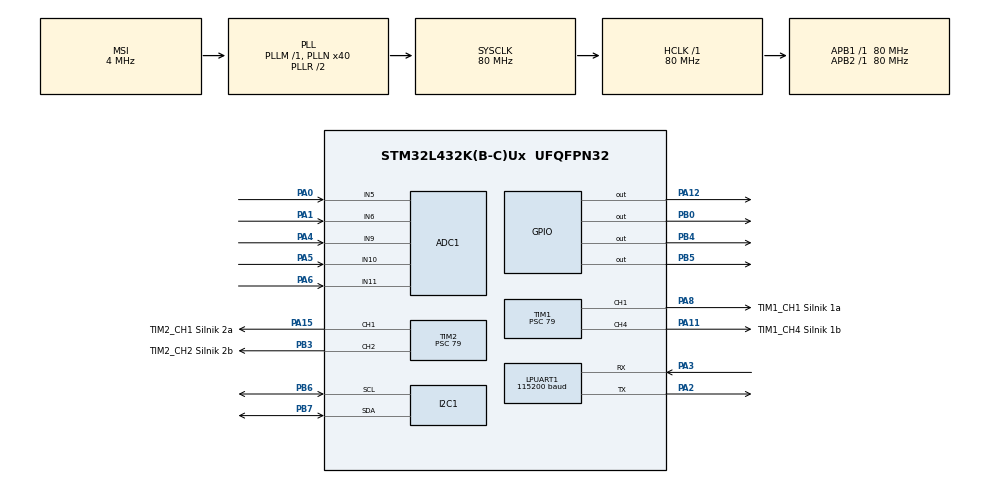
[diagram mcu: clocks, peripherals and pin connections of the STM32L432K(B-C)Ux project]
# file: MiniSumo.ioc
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ADC1.Channel-0\#ChannelRegularConversion=ADC_CHANNEL_5
ADC1.NbrOfConversionFlag=1
ADC1.OffsetNumber-0\#ChannelRegularConversion=ADC_OFFSET_NONE
ADC1.Rank-0\#ChannelRegularConversion=1
ADC1.SamplingTime-0\#ChannelRegularConversion=ADC_SAMPLETIME_2CYCLES_5
ADC1.master=1
I2C1.Timing=0x10D19CE4
LPUART1.BaudRate=115200
LPUART1.WordLength=UART_WORDLENGTH_8B
Mcu.Family=STM32L4
Mcu.Name=STM32L432K(B-C)Ux
Mcu.Package=UFQFPN32
NVIC.PriorityGroup=NVIC_PRIORITYGROUP_4
PA0.Signal=ADCx_IN5
PA1.Signal=ADCx_IN6
PA11.GPIO_Label=TIM1_CH4 Silnik 1b
PA11.Signal=S_TIM1_CH4
PA12.Signal=GPIO_Output
PA15\ (JTDI).GPIO_Label=TIM2_CH1 Silnik 2a
PA15\ (JTDI).Signal=S_TIM2_CH1
PA2.Mode=Asynchronous
PA2.Signal=LPUART1_TX
PA3.Mode=Asynchronous
PA3.Signal=LPUART1_RX
PA4.Signal=ADCx_IN9
PA5.Signal=ADCx_IN10
PA6.Signal=ADCx_IN11
PA8.GPIO_Label=TIM1_CH1 Silnik 1a
PA8.Signal=S_TIM1_CH1
PB0.Signal=GPIO_Output
PB3\ (JTDO-TRACESWO).GPIO_Label=TIM2_CH2 Silnik 2b
PB3\ (JTDO-TRACESWO).Signal=S_TIM2_CH2
PB4\ (NJTRST).Signal=GPIO_Output
PB5.Signal=GPIO_Output
PB6.Mode=I2C
PB6.Signal=I2C1_SCL
PB7.Mode=I2C
PB7.Signal=I2C1_SDA
ProjectManager.HeapSize=0x200
ProjectManager.StackSize=0x400
ProjectManager.TargetToolchain=STM32CubeIDE
RCC.ADCFreq_Value=32000000
RCC.AHBFreq_Value=80000000
RCC.APB1Freq_Value=80000000
RCC.APB1TimFreq_Value=80000000
RCC.APB2Freq_Value=80000000
RCC.APB2TimFreq_Value=80000000
RCC.CortexFreq_Value=80000000
RCC.HCLKFreq_Value=80000000
RCC.HSE_VALUE=8000000
RCC.HSI48_VALUE=48000000
RCC.HSI_VALUE=16000000
RCC.LSE_VALUE=32768
RCC.MSI_VALUE=4000000
RCC.PLLN=40
RCC.PLLSAI1N=16
RCC.SYSCLKFreq_VALUE=80000000
RCC.SYSCLKSource=RCC_SYSCLKSOURCE_PLLCLK
RCC.USBFreq_Value=32000000
RCC.VCOOutputFreq_Value=160000000
SH.ADCx_IN10.0=ADC1_IN10,IN10-Single-Ended
SH.ADCx_IN11.0=ADC1_IN11,IN11-Single-Ended
SH.ADCx_IN5.0=ADC1_IN5,IN5-Single-Ended
SH.ADCx_IN6.0=ADC1_IN6,IN6-Single-Ended
SH.ADCx_IN9.0=ADC1_IN9,IN9-Single-Ended
SH.S_TIM1_CH1.0=TIM1_CH1,PWM Generation1 CH1
SH.S_TIM1_CH4.0=TIM1_CH4,PWM Generation4 CH4
SH.S_TIM2_CH1.0=TIM2_CH1,PWM Generation1 CH1
SH.S_TIM2_CH2.0=TIM2_CH2,PWM Generation2 CH2
TIM1.Channel-PWM\ Generation1\ CH1=TIM_CHANNEL_1
TIM1.Channel-PWM\ Generation4\ CH4=TIM_CHANNEL_4
TIM1.Period=99
TIM1.Prescaler=79
TIM2.Channel-PWM\ Generation1\ CH1=TIM_CHANNEL_1
TIM2.Channel-PWM\ Generation2\ CH2=TIM_CHANNEL_2
TIM2.Period=99
TIM2.Prescaler=79
VP_TIM1_VS_ClockSourceINT.Mode=Internal
board=custom

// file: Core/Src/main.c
/* USER CODE BEGIN Header */
/**
  ******************************************************************************
  * @file           : main.c
  * @brief          : Main program body
  ******************************************************************************
  * @attention
  *
  * Copyright (c) 2026 STMicroelectronics.
  * All rights reserved.
  *
  * This software is licensed under terms that can be found in the LICENSE file
  * in the root directory of this software component.
  * If no LICENSE file comes with this software, it is provided AS-IS.
  *
  ******************************************************************************
  */
/* USER CODE END Header */
#include "main.h"

/* USER CODE BEGIN Includes */
#include <stdio.h>
#include "VL53L0X.h"
/* USER CODE END Includes */

/* USER CODE BEGIN PTD */
typedef enum {
	  STAN_SZUKAJ,
	  STAN_ATAK,
	  STAN_UNIK_KRAWEDZI
	} StanRobota;

	static StanRobota stan = STAN_SZUKAJ;
/* USER CODE END PTD */

/* USER CODE BEGIN PD */

#define PCA9548A_ADDR 0x70  // adres multiplexera (A0,A1,A2 = GND)
#define MOTOR_MAX 99  // wartość PWM (0-99, odpowiada Period w TIM1/TIM2)
#define PROG_KRAWEDZI_ADC 2000
#define PROG_WROG_BLISKO  300
#define PROG_WROG_DALEKO  1000
/* USER CODE END PD */

ADC_HandleTypeDef hadc1;

I2C_HandleTypeDef hi2c1;

UART_HandleTypeDef hlpuart1;

TIM_HandleTypeDef htim1;
TIM_HandleTypeDef htim2;

/* USER CODE BEGIN PV */
uint32_t ring_sensors[5];

uint16_t dystans1_mm = 0;
uint16_t dystans2_mm = 0;

uint8_t sensor1_ok = 0;
uint8_t sensor2_ok = 0;

extern uint8_t g_stopVariable;
uint8_t stopVar1 = 0;
uint8_t stopVar2 = 0;
/* USER CODE END PV */

void SystemClock_Config(void);
static void MX_GPIO_Init(void);
static void MX_ADC1_Init(void);
static void MX_I2C1_Init(void);
static void MX_TIM1_Init(void);
static void MX_LPUART1_UART_Init(void);
static void MX_TIM2_Init(void);

/* USER CODE BEGIN 0 */
extern UART_HandleTypeDef hlpuart1;

void pca9548_select(uint8_t channel) {
    uint8_t data = (1 << channel);
    HAL_I2C_Master_Transmit(&hi2c1, PCA9548A_ADDR << 1, &data, 1, 100);
    HAL_Delay(1);
}

int __io_putchar(int ch)
{
  HAL_UART_Transmit(&hlpuart1, (uint8_t *)&ch, 1, 0xFFFF);
  return ch;
}

// Silnik A (TIM1: PA8=CH1, PA11=CH4)
void motorA(int16_t speed) {
    if (speed > 0) {
        TIM1->CCR1 = speed;
        TIM1->CCR4 = 0;
    } else if (speed < 0) {
        TIM1->CCR1 = 0;
        TIM1->CCR4 = -speed;
    } else {
        TIM1->CCR1 = 0;
        TIM1->CCR4 = 0;
    }
}

// Silnik B (TIM2: PA15=CH1, PB3=CH2)
void motorB(int16_t speed) {
    if (speed > 0) {
        TIM2->CCR1 = speed;
        TIM2->CCR2 = 0;
    } else if (speed < 0) {
        TIM2->CCR1 = 0;
        TIM2->CCR2 = -speed;
    } else {
        TIM2->CCR1 = 0;
        TIM2->CCR2 = 0;
    }
}
/* USER CODE END 0 */

int main(void)
{

  /* MCU Configuration--------------------------------------------------------*/

  /* Reset of all peripherals, Initializes the Flash interface and the Systick. */
  HAL_Init();

  /* Configure the system clock */
  SystemClock_Config();

  /* Initialize all configured peripherals */
  MX_GPIO_Init();
  MX_ADC1_Init();
  MX_I2C1_Init();
  MX_TIM1_Init();
  MX_LPUART1_UART_Init();
  MX_TIM2_Init();
  /* USER CODE BEGIN 2 */
  setTimeout(500);

  HAL_TIM_PWM_Start(&htim1, TIM_CHANNEL_1);
  HAL_TIM_PWM_Start(&htim1, TIM_CHANNEL_4);
  HAL_TIM_PWM_Start(&htim2, TIM_CHANNEL_1);
  HAL_TIM_PWM_Start(&htim2, TIM_CHANNEL_2);

   // Czujnik 1 na kanale 0 (SD0/SC0)
   pca9548_select(0);
   HAL_Delay(10);
   sensor1_ok = initVL53L0X(1, &hi2c1);
   stopVar1 = g_stopVariable;
   printf("Czujnik 1: %s, stopVar: %u\r\n", sensor1_ok ? "OK" : "BLAD", stopVar1);

   // Czujnik 2 na kanale 1 (SD1/SC1)
   pca9548_select(1);
   HAL_Delay(10);
   sensor2_ok = initVL53L0X(1, &hi2c1);
   stopVar2 = g_stopVariable;
   printf("Czujnik 2: %s, stopVar: %u\r\n", sensor2_ok ? "OK" : "BLAD", stopVar2);
  /* USER CODE END 2 */

  /* Infinite loop */
  /* USER CODE BEGIN WHILE */
  while (1)
  {
    // ---------------------------------------------------------------
    // 1. Odczyt czujnikow ringu (ADC)
    // ---------------------------------------------------------------
    HAL_ADC_Start(&hadc1);
    for(int i = 0; i < 5; i++) {
      if (HAL_ADC_PollForConversion(&hadc1, 10) == HAL_OK) {
        ring_sensors[i] = HAL_ADC_GetValue(&hadc1);
      }
    }
    HAL_ADC_Stop(&hadc1);

    // ---------------------------------------------------------------
    // 2. Odczyt czujnika wroga 1
    // ---------------------------------------------------------------
    // Jak to dziala:
    // setAddress_VL53L0X() mowi bibliotece z ktorym czujnikiem rozmawiac.
    // readRangeSingleMillimeters() wysyla komende pomiaru, czeka na wynikf
    // i zwraca odleglosc w milimetrach.
    // Wartosc 8190 lub wieksza = poza zasiegiem (czujnik mierzy do ~2m)
    if (sensor1_ok) {
            pca9548_select(0);
            g_stopVariable = stopVar1;
            readRangeSingleMillimeters(0);
            uint8_t raw[2];
            HAL_I2C_Mem_Read(&hi2c1, ADDRESS_DEFAULT, 0x1E, 1, raw, 2, 100);
            dystans1_mm = (raw[0] << 8) | raw[1];
        }

        if (sensor2_ok) {
            pca9548_select(1);
            g_stopVariable = stopVar2;
            readRangeSingleMillimeters(0);
            uint8_t raw[2];
            HAL_I2C_Mem_Read(&hi2c1, ADDRESS_DEFAULT, 0x1E, 1, raw, 2, 100);
            dystans2_mm = (raw[0] << 8) | raw[1];
        }

        printf("RING: %lu | WROG1: %u mm | WROG2: %u mm\r\n",
               ring_sensors[0], dystans1_mm, dystans2_mm);

        uint8_t krawedz =
           (ring_sensors[0] < PROG_KRAWEDZI_ADC) || (ring_sensors[1] < PROG_KRAWEDZI_ADC) ||
           (ring_sensors[2] < PROG_KRAWEDZI_ADC) || (ring_sensors[3] < PROG_KRAWEDZI_ADC) ||
           (ring_sensors[4] < PROG_KRAWEDZI_ADC);

        uint8_t wrog_blisko =
           (dystans1_mm < PROG_WROG_BLISKO) || (dystans2_mm < PROG_WROG_BLISKO);

        uint8_t wrog_zgubiony =
           (dystans1_mm > PROG_WROG_DALEKO) && (dystans2_mm > PROG_WROG_DALEKO);

        if (krawedz) {
          stan = STAN_UNIK_KRAWEDZI;
        }

        switch (stan)
        {
          case STAN_SZUKAJ:

            motorA(60);
            motorB(-40);

            if (wrog_blisko) stan = STAN_ATAK;
            HAL_Delay(30);
            break;

          case STAN_ATAK:

            motorA(95);
            motorB(95);

            if (wrog_zgubiony) stan = STAN_SZUKAJ;
            HAL_Delay(20);
            break;

          case STAN_UNIK_KRAWEDZI:

            motorA(-90);
            motorB(-90);
            HAL_Delay(350);

            motorA(80);
            motorB(-50);
            HAL_Delay(500);

            stan = STAN_SZUKAJ;
            break;
        }
    /* USER CODE END WHILE */

  }
}

void SystemClock_Config(void)
{
  RCC_OscInitTypeDef RCC_OscInitStruct = {0};
  RCC_ClkInitTypeDef RCC_ClkInitStruct = {0};

  /** Configure the main internal regulator output voltage
  */
  if (HAL_PWREx_ControlVoltageScaling(PWR_REGULATOR_VOLTAGE_SCALE1) != HAL_OK)
  {
    Error_Handler();
  }

  /** Initializes the RCC Oscillators according to the specified parameters
  * in the RCC_OscInitTypeDef structure.
  */
  RCC_OscInitStruct.OscillatorType = RCC_OSCILLATORTYPE_MSI;
  RCC_OscInitStruct.MSIState = RCC_MSI_ON;
  RCC_OscInitStruct.MSICalibrationValue = 0;
  RCC_OscInitStruct.MSIClockRange = RCC_MSIRANGE_6;
  RCC_OscInitStruct.PLL.PLLState = RCC_PLL_ON;
  RCC_OscInitStruct.PLL.PLLSource = RCC_PLLSOURCE_MSI;
  RCC_OscInitStruct.PLL.PLLM = 1;
  RCC_OscInitStruct.PLL.PLLN = 40;
  RCC_OscInitStruct.PLL.PLLP = RCC_PLLP_DIV7;
  RCC_OscInitStruct.PLL.PLLQ = RCC_PLLQ_DIV2;
  RCC_OscInitStruct.PLL.PLLR = RCC_PLLR_DIV2;
  if (HAL_RCC_OscConfig(&RCC_OscInitStruct) != HAL_OK)
  {
    Error_Handler();
  }

  /** Initializes the CPU, AHB and APB buses clocks
  */
  RCC_ClkInitStruct.ClockType = RCC_CLOCKTYPE_HCLK|RCC_CLOCKTYPE_SYSCLK
                              |RCC_CLOCKTYPE_PCLK1|RCC_CLOCKTYPE_PCLK2;
  RCC_ClkInitStruct.SYSCLKSource = RCC_SYSCLKSOURCE_PLLCLK;
  RCC_ClkInitStruct.AHBCLKDivider = RCC_SYSCLK_DIV1;
  RCC_ClkInitStruct.APB1CLKDivider = RCC_HCLK_DIV1;
  RCC_ClkInitStruct.APB2CLKDivider = RCC_HCLK_DIV1;

  if (HAL_RCC_ClockConfig(&RCC_ClkInitStruct, FLASH_LATENCY_4) != HAL_OK)
  {
    Error_Handler();
  }
}

static void MX_ADC1_Init(void)
{

  ADC_ChannelConfTypeDef sConfig = {0};

  /** Common config
  */
  hadc1.Instance = ADC1;
  hadc1.Init.ClockPrescaler = ADC_CLOCK_ASYNC_DIV1;
  hadc1.Init.Resolution = ADC_RESOLUTION_12B;
  hadc1.Init.DataAlign = ADC_DATAALIGN_RIGHT;
  hadc1.Init.ScanConvMode = ADC_SCAN_DISABLE;
  hadc1.Init.EOCSelection = ADC_EOC_SINGLE_CONV;
  hadc1.Init.LowPowerAutoWait = DISABLE;
  hadc1.Init.ContinuousConvMode = DISABLE;
  hadc1.Init.NbrOfConversion = 1;
  hadc1.Init.DiscontinuousConvMode = DISABLE;
  hadc1.Init.ExternalTrigConv = ADC_SOFTWARE_START;
  hadc1.Init.ExternalTrigConvEdge = ADC_EXTERNALTRIGCONVEDGE_NONE;
  hadc1.Init.DMAContinuousRequests = DISABLE;
  hadc1.Init.Overrun = ADC_OVR_DATA_PRESERVED;
  hadc1.Init.OversamplingMode = DISABLE;
  if (HAL_ADC_Init(&hadc1) != HAL_OK)
  {
    Error_Handler();
  }

  /** Configure Regular Channel
  */
  sConfig.Channel = ADC_CHANNEL_5;
  sConfig.Rank = ADC_REGULAR_RANK_1;
  sConfig.SamplingTime = ADC_SAMPLETIME_2CYCLES_5;
  sConfig.SingleDiff = ADC_SINGLE_ENDED;
  sConfig.OffsetNumber = ADC_OFFSET_NONE;
  sConfig.Offset = 0;
  if (HAL_ADC_ConfigChannel(&hadc1, &sConfig) != HAL_OK)
  {
    Error_Handler();
  }

}

static void MX_I2C1_Init(void)
{

  hi2c1.Instance = I2C1;
  hi2c1.Init.Timing = 0x10D19CE4;
  hi2c1.Init.OwnAddress1 = 0;
  hi2c1.Init.AddressingMode = I2C_ADDRESSINGMODE_7BIT;
  hi2c1.Init.DualAddressMode = I2C_DUALADDRESS_DISABLE;
  hi2c1.Init.OwnAddress2 = 0;
  hi2c1.Init.OwnAddress2Masks = I2C_OA2_NOMASK;
  hi2c1.Init.GeneralCallMode = I2C_GENERALCALL_DISABLE;
  hi2c1.Init.NoStretchMode = I2C_NOSTRETCH_DISABLE;
  if (HAL_I2C_Init(&hi2c1) != HAL_OK)
  {
    Error_Handler();
  }

  /** Configure Analogue filter
  */
  if (HAL_I2CEx_ConfigAnalogFilter(&hi2c1, I2C_ANALOGFILTER_ENABLE) != HAL_OK)
  {
    Error_Handler();
  }

  /** Configure Digital filter
  */
  if (HAL_I2CEx_ConfigDigitalFilter(&hi2c1, 0) != HAL_OK)
  {
    Error_Handler();
  }

}

static void MX_LPUART1_UART_Init(void)
{

  hlpuart1.Instance = LPUART1;
  hlpuart1.Init.BaudRate = 115200;
  hlpuart1.Init.WordLength = UART_WORDLENGTH_8B;
  hlpuart1.Init.StopBits = UART_STOPBITS_1;
  hlpuart1.Init.Parity = UART_PARITY_NONE;
  hlpuart1.Init.Mode = UART_MODE_TX_RX;
  hlpuart1.Init.HwFlowCtl = UART_HWCONTROL_NONE;
  hlpuart1.Init.OneBitSampling = UART_ONE_BIT_SAMPLE_DISABLE;
  hlpuart1.AdvancedInit.AdvFeatureInit = UART_ADVFEATURE_NO_INIT;
  if (HAL_UART_Init(&hlpuart1) != HAL_OK)
  {
    Error_Handler();
  }

}

static void MX_TIM1_Init(void)
{

  TIM_ClockConfigTypeDef sClockSourceConfig = {0};
  TIM_MasterConfigTypeDef sMasterConfig = {0};
  TIM_OC_InitTypeDef sConfigOC = {0};
  TIM_BreakDeadTimeConfigTypeDef sBreakDeadTimeConfig = {0};

  htim1.Instance = TIM1;
  htim1.Init.Prescaler = 79;
  htim1.Init.CounterMode = TIM_COUNTERMODE_UP;
  htim1.Init.Period = 99;
  htim1.Init.ClockDivision = TIM_CLOCKDIVISION_DIV1;
  htim1.Init.RepetitionCounter = 0;
  htim1.Init.AutoReloadPreload = TIM_AUTORELOAD_PRELOAD_DISABLE;
  if (HAL_TIM_Base_Init(&htim1) != HAL_OK)
  {
    Error_Handler();
  }
  sClockSourceConfig.ClockSource = TIM_CLOCKSOURCE_INTERNAL;
  if (HAL_TIM_ConfigClockSource(&htim1, &sClockSourceConfig) != HAL_OK)
  {
    Error_Handler();
  }
  if (HAL_TIM_PWM_Init(&htim1) != HAL_OK)
  {
    Error_Handler();
  }
  sMasterConfig.MasterOutputTrigger = TIM_TRGO_RESET;
  sMasterConfig.MasterOutputTrigger2 = TIM_TRGO2_RESET;
  sMasterConfig.MasterSlaveMode = TIM_MASTERSLAVEMODE_DISABLE;
  if (HAL_TIMEx_MasterConfigSynchronization(&htim1, &sMasterConfig) != HAL_OK)
  {
    Error_Handler();
  }
  sConfigOC.OCMode = TIM_OCMODE_PWM1;
  sConfigOC.Pulse = 0;
  sConfigOC.OCPolarity = TIM_OCPOLARITY_HIGH;
  sConfigOC.OCNPolarity = TIM_OCNPOLARITY_HIGH;
  sConfigOC.OCFastMode = TIM_OCFAST_DISABLE;
  sConfigOC.OCIdleState = TIM_OCIDLESTATE_RESET;
  sConfigOC.OCNIdleState = TIM_OCNIDLESTATE_RESET;
  if (HAL_TIM_PWM_ConfigChannel(&htim1, &sConfigOC, TIM_CHANNEL_1) != HAL_OK)
  {
    Error_Handler();
  }
  if (HAL_TIM_PWM_ConfigChannel(&htim1, &sConfigOC, TIM_CHANNEL_4) != HAL_OK)
  {
    Error_Handler();
  }
  sBreakDeadTimeConfig.OffStateRunMode = TIM_OSSR_DISABLE;
  sBreakDeadTimeConfig.OffStateIDLEMode = TIM_OSSI_DISABLE;
  sBreakDeadTimeConfig.LockLevel = TIM_LOCKLEVEL_OFF;
  sBreakDeadTimeConfig.DeadTime = 0;
  sBreakDeadTimeConfig.BreakState = TIM_BREAK_DISABLE;
  sBreakDeadTimeConfig.BreakPolarity = TIM_BREAKPOLARITY_HIGH;
  sBreakDeadTimeConfig.BreakFilter = 0;
  sBreakDeadTimeConfig.Break2State = TIM_BREAK2_DISABLE;
  sBreakDeadTimeConfig.Break2Polarity = TIM_BREAK2POLARITY_HIGH;
  sBreakDeadTimeConfig.Break2Filter = 0;
  sBreakDeadTimeConfig.AutomaticOutput = TIM_AUTOMATICOUTPUT_DISABLE;
  if (HAL_TIMEx_ConfigBreakDeadTime(&htim1, &sBreakDeadTimeConfig) != HAL_OK)
  {
    Error_Handler();
  }
  HAL_TIM_MspPostInit(&htim1);

}

static void MX_TIM2_Init(void)
{

  TIM_MasterConfigTypeDef sMasterConfig = {0};
  TIM_OC_InitTypeDef sConfigOC = {0};

  htim2.Instance = TIM2;
  htim2.Init.Prescaler = 79;
  htim2.Init.CounterMode = TIM_COUNTERMODE_UP;
  htim2.Init.Period = 99;
  htim2.Init.ClockDivision = TIM_CLOCKDIVISION_DIV1;
  htim2.Init.AutoReloadPreload = TIM_AUTORELOAD_PRELOAD_DISABLE;
  if (HAL_TIM_PWM_Init(&htim2) != HAL_OK)
  {
    Error_Handler();
  }
  sMasterConfig.MasterOutputTrigger = TIM_TRGO_RESET;
  sMasterConfig.MasterSlaveMode = TIM_MASTERSLAVEMODE_DISABLE;
  if (HAL_TIMEx_MasterConfigSynchronization(&htim2, &sMasterConfig) != HAL_OK)
  {
    Error_Handler();
  }
  sConfigOC.OCMode = TIM_OCMODE_PWM1;
  sConfigOC.Pulse = 0;
  sConfigOC.OCPolarity = TIM_OCPOLARITY_HIGH;
  sConfigOC.OCFastMode = TIM_OCFAST_DISABLE;
  if (HAL_TIM_PWM_ConfigChannel(&htim2, &sConfigOC, TIM_CHANNEL_1) != HAL_OK)
  {
    Error_Handler();
  }
  if (HAL_TIM_PWM_ConfigChannel(&htim2, &sConfigOC, TIM_CHANNEL_2) != HAL_OK)
  {
    Error_Handler();
  }
  HAL_TIM_MspPostInit(&htim2);

}

static void MX_GPIO_Init(void)
{
  GPIO_InitTypeDef GPIO_InitStruct = {0};

  /* GPIO Ports Clock Enable */
  __HAL_RCC_GPIOA_CLK_ENABLE();
  __HAL_RCC_GPIOB_CLK_ENABLE();

  /*Configure GPIO pin Output Level */
  HAL_GPIO_WritePin(GPIOB, GPIO_PIN_0|GPIO_PIN_4|GPIO_PIN_5, GPIO_PIN_RESET);

  /*Configure GPIO pin Output Level */
  HAL_GPIO_WritePin(GPIOA, GPIO_PIN_12, GPIO_PIN_RESET);

  /*Configure GPIO pins : PB0 PB4 PB5 */
  GPIO_InitStruct.Pin = GPIO_PIN_0|GPIO_PIN_4|GPIO_PIN_5;
  GPIO_InitStruct.Mode = GPIO_MODE_OUTPUT_PP;
  GPIO_InitStruct.Pull = GPIO_NOPULL;
  GPIO_InitStruct.Speed = GPIO_SPEED_FREQ_LOW;
  HAL_GPIO_Init(GPIOB, &GPIO_InitStruct);

  /*Configure GPIO pin : PA12 */
  GPIO_InitStruct.Pin = GPIO_PIN_12;
  GPIO_InitStruct.Mode = GPIO_MODE_OUTPUT_PP;
  GPIO_InitStruct.Pull = GPIO_NOPULL;
  GPIO_InitStruct.Speed = GPIO_SPEED_FREQ_LOW;
  HAL_GPIO_Init(GPIOA, &GPIO_InitStruct);

}

void Error_Handler(void)
{
  __disable_irq();
  while (1)
  {
  }
}
